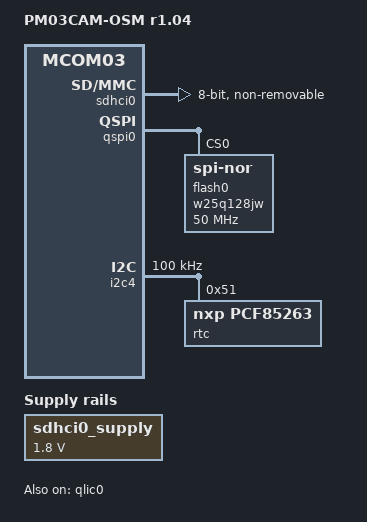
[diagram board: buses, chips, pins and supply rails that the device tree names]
// SPDX-License-Identifier: GPL-2.0+
/*
 * Copyright 2023 RnD Center "ELVEES", JSC
 */

/dts-v1/;

#include <dt-bindings/gpio/gpio.h>
#include <dt-bindings/thermal/thermal.h>

#include "mcom03.dtsi"

/ {
	model = "PM03CAM-OSM r1.04";
	compatible = "elvees,pm03camosm-r1.04",
		     "elvees,pm03camosm",
		     "elvees,mcom03";

	chosen {
		stdout-path = "serial0:115200n8";
	};

	sdhci0_supply: regulator@0 {
		compatible = "regulator-fixed";
		regulator-name = "sdhci0-supply";
		regulator-min-microvolt = <1800000>;
		regulator-max-microvolt = <1800000>;
		regulator-always-on;
	};

	thermal-zones {
		cpu_thermal: cpu0-thermal {
			thermal-sensors = <&pvt 0>;
			polling-delay-passive = <250>;
			polling-delay = <1000>;

			trips {
				cpu_alert0: cpu-alert-0 {
					temperature = <40000>;
					hysteresis = <1000>;
					type = "active";
				};
			};
		};
	};
};

&hsperiph_pinctrl {
	pinctrl-0 = <&hsperiph_misc_default &emac_v18>;
};

&sdhci0 {
	status = "okay";

	non-removable;
	bus-width = <8>;

	vqmmc-supply = <&sdhci0_supply>;
};

&qspi0 {
	status = "okay";

	flash0: w25q128jw@0 {
		#address-cells = <1>;
		#size-cells = <1>;
		compatible = "jedec,spi-nor", "winbond,w25q128";
		reg = <0x0>;
		/* This is the highest frequency at which all commands are
		 * supported by the flash device.
		 */
		spi-max-frequency = <50000000>;
	};
};

&qlic0 {
	status = "okay";
};

&i2c4 {
	clock-frequency = <100000>;
	status = "okay";

	rtc@51 {
		compatible = "nxp,pcf85263";
		reg = <0x51>;
	};
};
